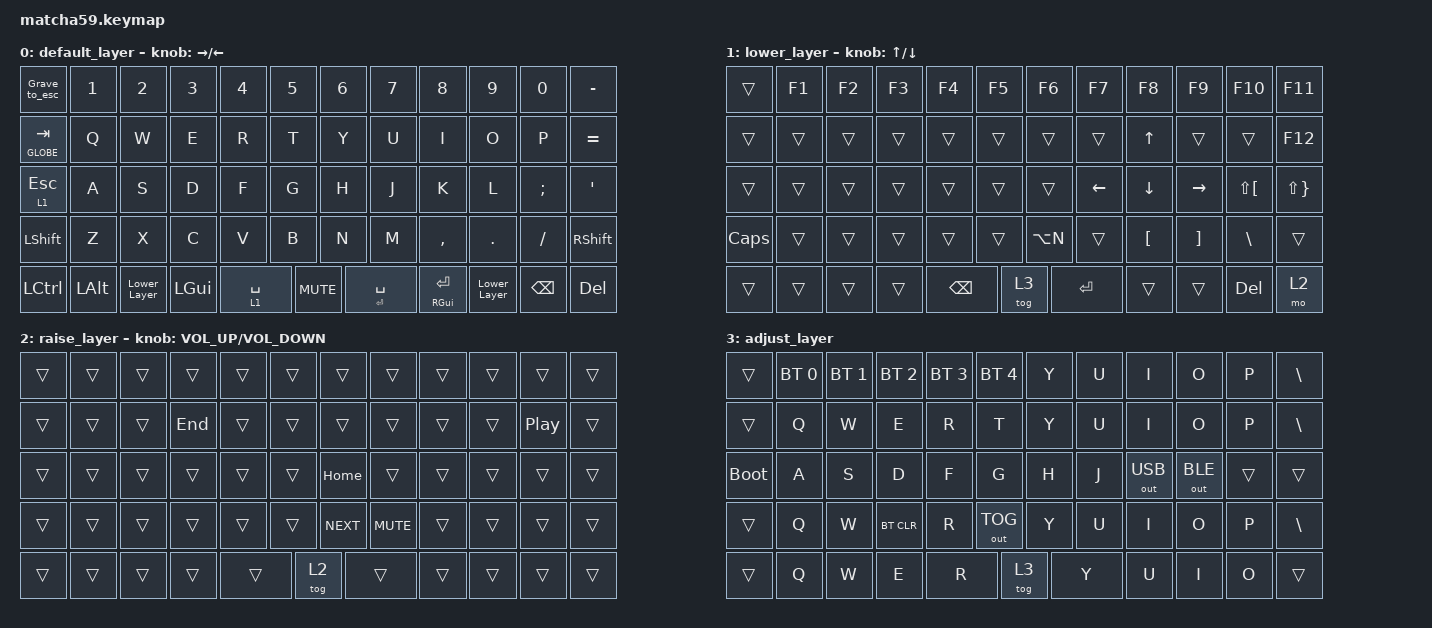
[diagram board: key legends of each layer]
#include <behaviors.dtsi>
#include <dt-bindings/zmk/bt.h>
#include <dt-bindings/zmk/keys.h>
#include <dt-bindings/zmk/outputs.h>

#define DEFAULT 0
#define LOWER 1
#define RAISE 2
#define BOTH 3

/ {
    behaviors {
        Lower_Layer: Lower_Layer {
            compatible = "zmk,behavior-tap-dance";
            label = "LOWER_LAYER";
            #binding-cells = <0>;
            bindings = <&mo 1>, <&tog 1>;
        };

        Grave_to_esc: Grave_to_esc {
            compatible = "zmk,behavior-tap-dance";
            label = "GRAVE_TO_ESC";
            #binding-cells = <0>;
            bindings = <&kp GRAVE>, <&kp ESCAPE>;
        };
    };

    keymap {
        compatible = "zmk,keymap";

        default_layer {
            bindings = <
&Grave_to_esc     &kp NUMBER_1  &kp NUMBER_2  &kp NUMBER_3  &kp NUMBER_4  &kp N5  &kp NUMBER_6  &kp N7           &kp N8               &kp N9        &kp N0         &kp MINUS
&mt GLOBE TAB     &kp Q         &kp W         &kp E         &kp R         &kp T   &kp Y         &kp U            &kp I                &kp O         &kp P          &kp EQUAL
&lt 1 ESCAPE      &kp A         &kp S         &kp D         &kp F         &kp G   &kp H         &kp J            &kp K                &kp L         &kp SEMICOLON  &kp SQT
&kp LSHIFT        &kp Z         &kp X         &kp C         &kp V         &kp B   &kp N         &kp M            &kp COMMA            &kp PERIOD    &kp SLASH      &kp RSHFT
&kp LEFT_CONTROL  &kp LEFT_ALT  &Lower_Layer  &kp LEFT_GUI  &lt 1 SPACE           &kp K_MUTE    &mt ENTER SPACE  &mt RIGHT_GUI ENTER  &Lower_Layer  &kp BACKSPACE  &kp DEL
            >;

            sensor-bindings = <&inc_dec_kp RIGHT LEFT_ARROW>;
        };

        lower_layer {
            bindings = <
&trans    &kp F1  &kp F2  &kp F3  &kp F4         &kp F5  &kp F6     &kp F7     &kp F8            &kp F9             &kp F10               &kp F11
&trans    &trans  &trans  &trans  &trans         &trans  &trans     &trans     &kp UP_ARROW      &trans             &trans                &kp F12
&trans    &trans  &trans  &trans  &trans         &trans  &trans     &kp LEFT   &kp DOWN_ARROW    &kp RIGHT          &kp LS(LEFT_BRACKET)  &kp LS(RIGHT_BRACE)
&kp CAPS  &trans  &trans  &trans  &trans         &trans  &kp LA(N)  &trans     &kp LEFT_BRACKET  &kp RIGHT_BRACKET  &kp BACKSLASH         &trans
&trans    &trans  &trans  &trans  &kp BACKSPACE          &tog 3     &kp ENTER  &trans            &trans             &kp DELETE            &mo 2
            >;

            sensor-bindings = <&inc_dec_kp UP_ARROW DOWN_ARROW>;
        };

        raise_layer {
            bindings = <
&trans  &trans  &trans  &trans   &trans  &trans  &trans      &trans      &trans  &trans  &trans            &trans
&trans  &trans  &trans  &kp END  &trans  &trans  &trans      &trans      &trans  &trans  &kp C_PLAY_PAUSE  &trans
&trans  &trans  &trans  &trans   &trans  &trans  &kp HOME    &trans      &trans  &trans  &trans            &trans
&trans  &trans  &trans  &trans   &trans  &trans  &kp C_NEXT  &kp K_MUTE  &trans  &trans  &trans            &trans
&trans  &trans  &trans  &trans   &trans          &tog 2      &trans      &trans  &trans  &trans            &trans
            >;

            sensor-bindings = <&inc_dec_kp C_VOLUME_UP C_VOLUME_DOWN>;
        };

        adjust_layer {
            bindings = <
&trans       &bt BT_SEL 0  &bt BT_SEL 1  &bt BT_SEL 2  &bt BT_SEL 3  &bt BT_SEL 4  &kp Y   &kp U  &kp I         &kp O         &kp P   &kp BSLH
&trans       &kp Q         &kp W         &kp E         &kp R         &kp T         &kp Y   &kp U  &kp I         &kp O         &kp P   &kp BSLH
&bootloader  &kp A         &kp S         &kp D         &kp F         &kp G         &kp H   &kp J  &out OUT_USB  &out OUT_BLE  &trans  &trans
&trans       &kp Q         &kp W         &bt BT_CLR    &kp R         &out OUT_TOG  &kp Y   &kp U  &kp I         &kp O         &kp P   &kp BSLH
&trans       &kp Q         &kp W         &kp E         &kp R                       &tog 3  &kp Y  &kp U         &kp I         &kp O   &trans
            >;
        };
    };
};
